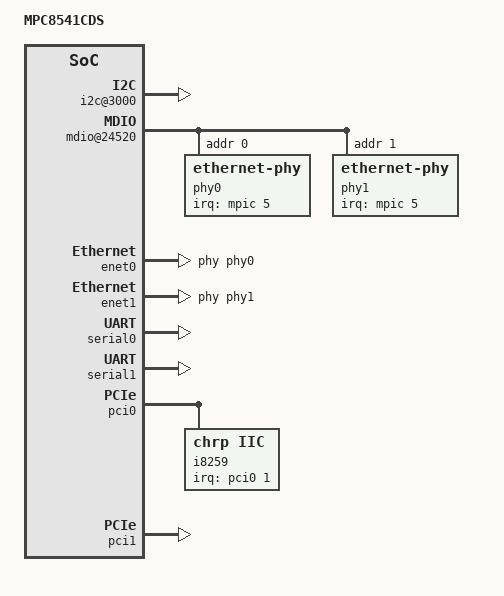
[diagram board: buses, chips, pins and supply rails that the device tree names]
/*
 * MPC8541 CDS Device Tree Source
 *
 * Copyright 2006 Freescale Semiconductor Inc.
 *
 * This program is free software; you can redistribute  it and/or modify it
 * under  the terms of  the GNU General  Public License as published by the
 * Free Software Foundation;  either version 2 of the  License, or (at your
 * option) any later version.
 */


/ {
	model = "MPC8541CDS";
	compatible = "MPC8541CDS", "MPC85xxCDS";
	#address-cells = <1>;
	#size-cells = <1>;

	aliases {
		ethernet0 = &enet0;
		ethernet1 = &enet1;
		serial0 = &serial0;
		serial1 = &serial1;
		pci0 = &pci0;
		pci1 = &pci1;
	};

	cpus {
		#address-cells = <1>;
		#size-cells = <0>;

		PowerPC,8541@0 {
			device_type = "cpu";
			reg = <0>;
			d-cache-line-size = <20>;	// 32 bytes
			i-cache-line-size = <20>;	// 32 bytes
			d-cache-size = <8000>;		// L1, 32K
			i-cache-size = <8000>;		// L1, 32K
			timebase-frequency = <0>;	//  33 MHz, from uboot
			bus-frequency = <0>;	// 166 MHz
			clock-frequency = <0>;	// 825 MHz, from uboot
		};
	};

	memory {
		device_type = "memory";
		reg = <00000000 08000000>;	// 128M at 0x0
	};

	soc8541@e0000000 {
		#address-cells = <1>;
		#size-cells = <1>;
		device_type = "soc";
		ranges = <0 e0000000 00100000>;
		reg = <e0000000 00001000>;	// CCSRBAR 1M
		bus-frequency = <0>;

		memory-controller@2000 {
			compatible = "fsl,8541-memory-controller";
			reg = <2000 1000>;
			interrupt-parent = <&mpic>;
			interrupts = <12 2>;
		};

		l2-cache-controller@20000 {
			compatible = "fsl,8541-l2-cache-controller";
			reg = <20000 1000>;
			cache-line-size = <20>;	// 32 bytes
			cache-size = <40000>;	// L2, 256K
			interrupt-parent = <&mpic>;
			interrupts = <10 2>;
		};

		i2c@3000 {
			#address-cells = <1>;
			#size-cells = <0>;
			cell-index = <0>;
			compatible = "fsl-i2c";
			reg = <3000 100>;
			interrupts = <2b 2>;
			interrupt-parent = <&mpic>;
			dfsrr;
		};

		mdio@24520 {
			#address-cells = <1>;
			#size-cells = <0>;
			compatible = "fsl,gianfar-mdio";
			reg = <24520 20>;

			phy0: ethernet-phy@0 {
				interrupt-parent = <&mpic>;
				interrupts = <5 1>;
				reg = <0>;
				device_type = "ethernet-phy";
			};
			phy1: ethernet-phy@1 {
				interrupt-parent = <&mpic>;
				interrupts = <5 1>;
				reg = <1>;
				device_type = "ethernet-phy";
			};
		};

		enet0: ethernet@24000 {
			cell-index = <0>;
			device_type = "network";
			model = "TSEC";
			compatible = "gianfar";
			reg = <24000 1000>;
			local-mac-address = [ 00 00 00 00 00 00 ];
			interrupts = <1d 2 1e 2 22 2>;
			interrupt-parent = <&mpic>;
			phy-handle = <&phy0>;
		};

		enet1: ethernet@25000 {
			cell-index = <1>;
			device_type = "network";
			model = "TSEC";
			compatible = "gianfar";
			reg = <25000 1000>;
			local-mac-address = [ 00 00 00 00 00 00 ];
			interrupts = <23 2 24 2 28 2>;
			interrupt-parent = <&mpic>;
			phy-handle = <&phy1>;
		};

		serial0: serial@4500 {
			cell-index = <0>;
			device_type = "serial";
			compatible = "ns16550";
			reg = <4500 100>; 	// reg base, size
			clock-frequency = <0>; 	// should we fill in in uboot?
			interrupts = <2a 2>;
			interrupt-parent = <&mpic>;
		};

		serial1: serial@4600 {
			cell-index = <1>;
			device_type = "serial";
			compatible = "ns16550";
			reg = <4600 100>;	// reg base, size
			clock-frequency = <0>; 	// should we fill in in uboot?
			interrupts = <2a 2>;
			interrupt-parent = <&mpic>;
		};

		mpic: pic@40000 {
			clock-frequency = <0>;
			interrupt-controller;
			#address-cells = <0>;
			#interrupt-cells = <2>;
			reg = <40000 40000>;
			compatible = "chrp,open-pic";
			device_type = "open-pic";
                        big-endian;
		};

		cpm@919c0 {
			#address-cells = <1>;
			#size-cells = <1>;
			compatible = "fsl,mpc8541-cpm", "fsl,cpm2";
			reg = <919c0 30>;
			ranges;

			muram@80000 {
				#address-cells = <1>;
				#size-cells = <1>;
				ranges = <0 80000 10000>;

				data@0 {
					compatible = "fsl,cpm-muram-data";
					reg = <0 2000 9000 1000>;
				};
			};

			brg@919f0 {
				compatible = "fsl,mpc8541-brg",
				             "fsl,cpm2-brg",
				             "fsl,cpm-brg";
				reg = <919f0 10 915f0 10>;
			};

			cpmpic: pic@90c00 {
				interrupt-controller;
				#address-cells = <0>;
				#interrupt-cells = <2>;
				interrupts = <2e 2>;
				interrupt-parent = <&mpic>;
				reg = <90c00 80>;
				compatible = "fsl,mpc8541-cpm-pic", "fsl,cpm2-pic";
			};
		};
	};

	pci0: pci@e0008000 {
		cell-index = <0>;
		interrupt-map-mask = <1f800 0 0 7>;
		interrupt-map = <

			/* IDSEL 0x10 */
			08000 0 0 1 &mpic 0 1
			08000 0 0 2 &mpic 1 1
			08000 0 0 3 &mpic 2 1
			08000 0 0 4 &mpic 3 1

			/* IDSEL 0x11 */
			08800 0 0 1 &mpic 0 1
			08800 0 0 2 &mpic 1 1
			08800 0 0 3 &mpic 2 1
			08800 0 0 4 &mpic 3 1

			/* IDSEL 0x12 (Slot 1) */
			09000 0 0 1 &mpic 0 1
			09000 0 0 2 &mpic 1 1
			09000 0 0 3 &mpic 2 1
			09000 0 0 4 &mpic 3 1

			/* IDSEL 0x13 (Slot 2) */
			09800 0 0 1 &mpic 1 1
			09800 0 0 2 &mpic 2 1
			09800 0 0 3 &mpic 3 1
			09800 0 0 4 &mpic 0 1

			/* IDSEL 0x14 (Slot 3) */
			0a000 0 0 1 &mpic 2 1
			0a000 0 0 2 &mpic 3 1
			0a000 0 0 3 &mpic 0 1
			0a000 0 0 4 &mpic 1 1

			/* IDSEL 0x15 (Slot 4) */
			0a800 0 0 1 &mpic 3 1
			0a800 0 0 2 &mpic 0 1
			0a800 0 0 3 &mpic 1 1
			0a800 0 0 4 &mpic 2 1

			/* Bus 1 (Tundra Bridge) */
			/* IDSEL 0x12 (ISA bridge) */
			19000 0 0 1 &mpic 0 1
			19000 0 0 2 &mpic 1 1
			19000 0 0 3 &mpic 2 1
			19000 0 0 4 &mpic 3 1>;
		interrupt-parent = <&mpic>;
		interrupts = <18 2>;
		bus-range = <0 0>;
		ranges = <02000000 0 80000000 80000000 0 20000000
			  01000000 0 00000000 e2000000 0 00100000>;
		clock-frequency = <3f940aa>;
		#interrupt-cells = <1>;
		#size-cells = <2>;
		#address-cells = <3>;
		reg = <e0008000 1000>;
		compatible = "fsl,mpc8540-pci";
		device_type = "pci";

		i8259@19000 {
			interrupt-controller;
			device_type = "interrupt-controller";
			reg = <19000 0 0 0 1>;
			#address-cells = <0>;
			#interrupt-cells = <2>;
			compatible = "chrp,iic";
			interrupts = <1>;
			interrupt-parent = <&pci0>;
		};
	};

	pci1: pci@e0009000 {
		cell-index = <1>;
		interrupt-map-mask = <f800 0 0 7>;
		interrupt-map = <

			/* IDSEL 0x15 */
			a800 0 0 1 &mpic b 1
			a800 0 0 2 &mpic b 1
			a800 0 0 3 &mpic b 1
			a800 0 0 4 &mpic b 1>;
		interrupt-parent = <&mpic>;
		interrupts = <19 2>;
		bus-range = <0 0>;
		ranges = <02000000 0 a0000000 a0000000 0 20000000
			  01000000 0 00000000 e3000000 0 00100000>;
		clock-frequency = <3f940aa>;
		#interrupt-cells = <1>;
		#size-cells = <2>;
		#address-cells = <3>;
		reg = <e0009000 1000>;
		compatible = "fsl,mpc8540-pci";
		device_type = "pci";
	};
};
